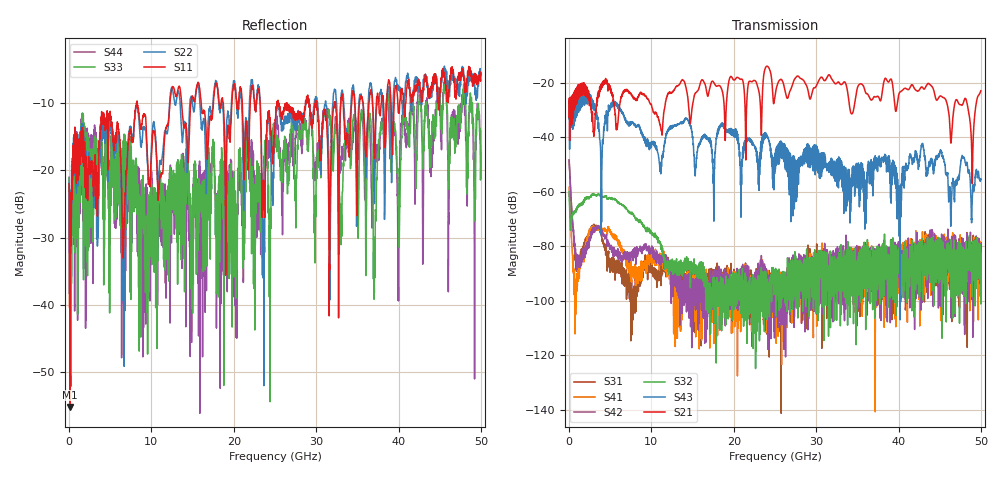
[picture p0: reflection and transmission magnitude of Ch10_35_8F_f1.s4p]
!Agilent Technologies,N5247A,US51170199,A.09.90.13
!Agilent N5247A: A.09.90.13
!Date: Wednesday, December 16, 2015 12:34:19
!Correction: S11(Full 4 Port(1,2,3,4))
!S12(Full 4 Port(1,2,3,4))
!S13(Full 4 Port(1,2,3,4))
!S14(Full 4 Port(1,2,3,4))
!S21(Full 4 Port(1,2,3,4))
!S22(Full 4 Port(1,2,3,4))
!S23(Full 4 Port(1,2,3,4))
!S24(Full 4 Port(1,2,3,4))
!S31(Full 4 Port(1,2,3,4))
!S32(Full 4 Port(1,2,3,4))
!S33(Full 4 Port(1,2,3,4))
!S34(Full 4 Port(1,2,3,4))
!S41(Full 4 Port(1,2,3,4))
!S42(Full 4 Port(1,2,3,4))
!S43(Full 4 Port(1,2,3,4))
!S44(Full 4 Port(1,2,3,4))
!S4P File: Measurements: <S11,S12,S13,S14>,
!<S21,S22,S23,S24>,
!<S31,S32,S33,S34>,
!<S41,S42,S43,S44>:
# Hz S  dB  R 50
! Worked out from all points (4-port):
!   3201 points, 10 MHz to 50 GHz, reference 50 ohm
!   strongest paths, dB at 10 MHz, 12.51 GHz, 25 GHz, 37.5 GHz, 50 GHz:
!     S21: -32.5, -23.4, -25.0, -24.9, -22.8
!     S43: -33.2, -35.7, -45.8, -47.7, -55.4
!     S32: -59.8, -88.7, -89.1, -80.2, -83.1
!     S42: -48.2, -88.8, -98.9, -86.3, -88.3
!     S41: -58.3, -88.0, -92.3, -89.6, -85.6
!     S31: -48.3, -89.7, -93.5, -91.2, -81.5
!   lowest |S11| = -55.2 dB at 135 MHz (marker M1), VSWR 1.00, Z = 50 + j0.172 ohm
!   |S11| at or under -10 dB: start of sweep to 8.229 GHz; 8.279 GHz to 12.26 GHz (3.98 GHz wide, 38.8 % of centre); 26.46 GHz to 28.71 GHz (2.242 GHz wide, 8.13 % of centre)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
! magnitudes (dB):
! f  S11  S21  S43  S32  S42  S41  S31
! 10 MHz  -22.0  -32.5  -33.2  -59.8  -48.2  -58.3  -48.3
! 135 MHz  -55.2  -32.7  -32.7  -72.2  -55.8  -68.2  -55.7
! 916.1 MHz  -18.0  -26.6  -32.2  -66.2  -88.7  -92.9  -85.4
! 6.634 GHz  -30.7  -23.3  -31.6  -65.3  -83.1  -81.2  -90.4
! 8.18 GHz  -10.0  -26.2  -36.2  -69.6  -83.6  -90.4  -97.6
! 23.63 GHz  -23.0  -17.3  -40.4  -98.5  -89.4  -89.6  -108.8
! 50 GHz  -5.6  -22.8  -55.4  -83.1  -88.3  -85.6  -81.5
